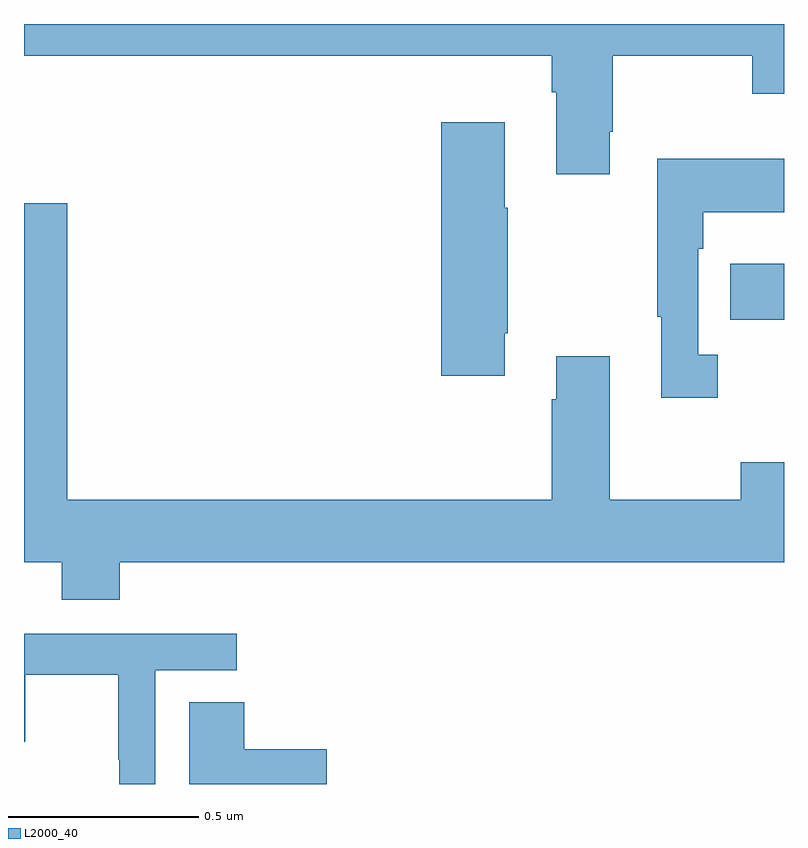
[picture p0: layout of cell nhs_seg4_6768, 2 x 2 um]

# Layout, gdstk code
import gdstk
lib = gdstk.Library(unit=1e-6, precision=1e-09)
def R(c, l, rs):  # rectangles x0, y0, x1, y1
    for r in rs: c.add(gdstk.rectangle(r[:2], r[2:], *l))
def P(c, l, *ps):  # polygons
    for p in ps: c.add(gdstk.Polygon(p, *l))
L2000_40 = (2000, 40)

nhs_seg4_6768 = lib.new_cell('nhs_seg4_6768')
R(nhs_seg4_6768, L2000_40, [(195.859,800.122,196,800.269)])
P(nhs_seg4_6768, L2000_40, [(195.541,800.617),(195.549,800.617),(195.549,800.816),(195.916,800.816),(195.916,800.717),(196,800.717),(196,800.9),(194,800.9),(194,800.816),(195.389,800.816),(195.389,800.72),(195.401,800.72),(195.401,800.505),(195.541,800.505)],
  [(195.265,800.086),(195.273,800.086),(195.273,800.417),(195.265,800.417),(195.265,800.641),(195.098,800.641),(195.098,799.974),(195.265,799.974)],
  [(195.826,800.03),(195.774,800.03),(195.774,800.309),(195.787,800.309),(195.787,800.405),(196,800.405),(196,800.545),(195.666,800.545),(195.666,800.129),(195.677,800.129),(195.677,799.917),(195.826,799.917)],
  [(194.252,799.484),(196,799.484),(196,799.747),(195.886,799.747),(195.886,799.648),(195.541,799.648),(195.541,800.026),(195.401,800.026),(195.401,799.913),(195.389,799.913),(195.389,799.648),(194.114,799.648),(194.114,800.428),(194,800.428),(194,799.484),(194.099,799.484),(194.099,799.385),(194.252,799.385)],
  [(194.346,799.2),(194.56,799.2),(194.56,799.296),(194,799.296),(194,799.01),(194.003,799.013),(194.003,799.188),(194.248,799.188),(194.248,798.964),(194.25,798.964),(194.25,798.9),(194.346,798.9)],
  [(194.797,798.992),(194.579,798.992),(194.579,799.115),(194.435,799.115),(194.435,798.9),(194.797,798.9)])

lib.write_gds('nhs_seg4_6768.gds')
